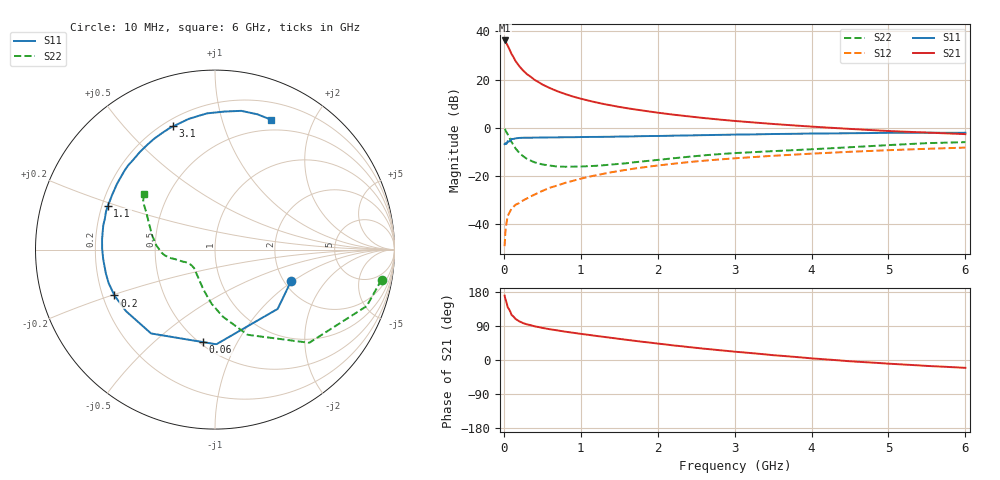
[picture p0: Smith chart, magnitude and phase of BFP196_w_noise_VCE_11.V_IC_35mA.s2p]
! Infineon Technologies  Discrete & RF Semiconductors
! BFP196
! VCE =  11. V,  IC =  35 mA
! Common Emitter S-Parameters:  Jan 2017
# GHz  S  MA  R  50
!  f  S11  S21  S12  S22
! GHz  MAG  ANG  MAG  ANG  MAG  ANG  MAG  ANG
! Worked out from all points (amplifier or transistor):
!   77 points, 10 MHz to 6 GHz, reference 50 ohm
!   highest |S21| = 36.2 dB at 10 MHz (marker M1)
!   |S21| within 3 dB of that: start of sweep to 62.83 MHz
!   unconditionally stable (mu >= 1): 669 MHz to 2.404 GHz
!   at 130 MHz: K = 0.50, MSG = 30.8 dB, |S12| = -32.6 dB
!   at 2.2 GHz: K = 1.01, MAG = 9.5 dB, |S12| = -14.9 dB
!   at 6 GHz: K = 0.93, MSG = 2.8 dB, |S12| = -8.2 dB
!   lowest NFmin = 1.28 dB at 450 MHz
!   S11 on the Smith chart (normalised r, x): 10 MHz: 2.19, -0.96; 60 MHz: 0.52, -0.74; 200 MHz: 0.25, -0.20; 1.1 GHz: 0.22, +0.19; 3.1 GHz: 0.24, +0.69; 6 GHz: 0.38, +1.45
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0.01  0.4589 -22.2  64.82 169.9  0.0035 75.8  0.9432 -10.2
0.02  0.4807 -43.4  63.26 161.0  0.0069 76.0  0.9021 -20.4
0.05  0.5277 -89.2  50.58 139.3  0.0147 59.9  0.7384 -44.7
0.06  0.5197 -97.2  46.92 136.4  0.0159 57.8  0.6845 -48.2
0.1  0.5874 -127.3  34.08 119.0  0.0208 51.7  0.5078 -69.1
0.15  0.6029 -145.3  24.57 108.6  0.0252 49.1  0.3763 -83.3
0.2  0.6159 -155.5  19.03 102.1  0.0275 50.1  0.3037 -93.4
0.25  0.6212 -162.5  15.45 97.4  0.0311 52.2  0.2576 -100.6
0.3  0.6223 -167.6  12.98 94.1  0.0342 53.6  0.2269 -107.2
0.4  0.6251 -174.9  9.871 88.8  0.0412 58.3  0.1917 -117.1
0.5  0.6288 179.5  7.923 84.7  0.0489 60.2  0.1738 -124.8
0.6  0.6316 175.1  6.642 81.1  0.0572 61.0  0.1643 -131.1
0.7  0.6334 171.3  5.7 78.0  0.0637 62.2  0.1568 -135.9
0.9  0.6372 164.3  4.442 71.9  0.0797 62.4  0.1563 -143.3
1.1  0.6454 157.9  3.664 66.4  0.0962 61.9  0.1598 -148.6
1.5  0.6574 146.3  2.711 55.8  0.1273 58.5  0.1786 -157.1
2.1  0.6802 130.3  1.966 41.1  0.1719 52.0  0.224 -165.8
2.6  0.7045 118.8  1.594 29.9  0.2072 45.9  0.2683 -171.6
3.1  0.725 108.7  1.347 20.3  0.2384 39.8  0.3041 -178.5
4.1  0.7614 91.9  1.035 2.9  0.296 28.1  0.3653 165.4
5.1  0.7865 78.0  0.844 -10.8  0.3475 16.7  0.4456 150.3
6  0.7883 66.8  0.739 -20.7  0.3883 6.5  0.5037 142.2
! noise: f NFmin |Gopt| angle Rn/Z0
0.45  1.28  0.35  173  0.05
0.9  1.44  0.45  -169  0.07
1.9  2.27  0.68  -134  0.27
2.4  2.68  0.71  -121  0.61
